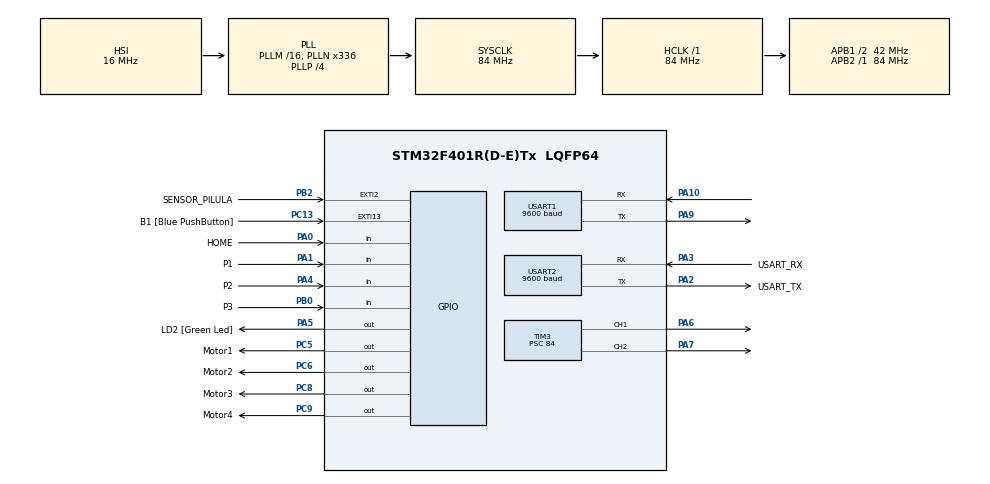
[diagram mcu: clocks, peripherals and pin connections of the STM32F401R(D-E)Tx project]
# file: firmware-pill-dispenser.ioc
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Mcu.Family=STM32F4
Mcu.Name=STM32F401R(D-E)Tx
Mcu.Package=LQFP64
NVIC.PriorityGroup=NVIC_PRIORITYGROUP_0
NVIC.RTC_Alarm_IRQn=true\:0\:3\:false\:false\:true\:true\:true
NVIC.USART1_IRQn=true\:0\:4\:false\:false\:true\:true\:true
PA0-WKUP.GPIO_Label=HOME
PA0-WKUP.Signal=GPIO_Input
PA1.GPIO_Label=P1
PA1.Signal=GPIO_Input
PA10.Mode=Asynchronous
PA10.Signal=USART1_RX
PA13.GPIO_Label=TMS
PA13.Mode=Serial_Wire
PA13.Signal=SYS_JTMS-SWDIO
PA14.GPIO_Label=TCK
PA14.Mode=Serial_Wire
PA14.Signal=SYS_JTCK-SWCLK
PA2.GPIO_Label=USART_TX
PA2.GPIO_Mode=GPIO_MODE_AF_PP
PA2.GPIO_PuPd=GPIO_NOPULL
PA2.GPIO_Speed=GPIO_SPEED_FREQ_LOW
PA2.Mode=Asynchronous
PA2.Signal=USART2_TX
PA3.GPIO_Label=USART_RX
PA3.GPIO_Mode=GPIO_MODE_AF_PP
PA3.GPIO_PuPd=GPIO_NOPULL
PA3.GPIO_Speed=GPIO_SPEED_FREQ_LOW
PA3.Mode=Asynchronous
PA3.Signal=USART2_RX
PA4.GPIO_Label=P2
PA4.Signal=GPIO_Input
PA5.GPIO_Label=LD2 [Green Led]
PA5.GPIO_Mode=GPIO_MODE_OUTPUT_PP
PA5.GPIO_PuPd=GPIO_NOPULL
PA5.GPIO_Speed=GPIO_SPEED_FREQ_LOW
PA5.Signal=GPIO_Output
PA6.Signal=S_TIM3_CH1
PA7.Signal=S_TIM3_CH2
PA9.Mode=Asynchronous
PA9.Signal=USART1_TX
PB0.GPIO_Label=P3
PB0.Signal=GPIO_Input
PB2.GPIO_Label=SENSOR_PILULA
PB2.Signal=GPXTI2
PB3.GPIO_Label=SWO
PB3.Signal=SYS_JTDO-SWO
PC13-ANTI_TAMP.GPIO_Label=B1 [Blue PushButton]
PC13-ANTI_TAMP.GPIO_ModeDefaultEXTI=GPIO_MODE_IT_FALLING
PC13-ANTI_TAMP.GPIO_PuPd=GPIO_NOPULL
PC13-ANTI_TAMP.Signal=GPXTI13
PC14-OSC32_IN.Mode=LSE-External-Oscillator
PC14-OSC32_IN.Signal=RCC_OSC32_IN
PC15-OSC32_OUT.Mode=LSE-External-Oscillator
PC15-OSC32_OUT.Signal=RCC_OSC32_OUT
PC5.GPIO_Label=Motor1
PC5.Signal=GPIO_Output
PC6.GPIO_Label=Motor2
PC6.Signal=GPIO_Output
PC8.GPIO_Label=Motor3
PC8.Signal=GPIO_Output
PC9.GPIO_Label=Motor4
PC9.Signal=GPIO_Output
PH0\ -\ OSC_IN.Mode=HSE-External-Clock-Source
PH0\ -\ OSC_IN.Signal=RCC_OSC_IN
PH1\ -\ OSC_OUT.Mode=HSE-External-Clock-Source
PH1\ -\ OSC_OUT.Signal=RCC_OSC_OUT
ProjectManager.HeapSize=0x200
ProjectManager.StackSize=0x400
ProjectManager.TargetToolchain=STM32CubeIDE
RCC.48MHZClocksFreq_Value=48000000
RCC.AHBFreq_Value=84000000
RCC.APB1CLKDivider=RCC_HCLK_DIV2
RCC.APB1Freq_Value=42000000
RCC.APB1TimFreq_Value=84000000
RCC.APB2Freq_Value=84000000
RCC.APB2TimFreq_Value=84000000
RCC.CortexFreq_Value=84000000
RCC.HCLKFreq_Value=84000000
RCC.HSE_VALUE=8000000
RCC.HSI_VALUE=16000000
RCC.PLLN=336
RCC.PLLP=RCC_PLLP_DIV4
RCC.PLLQ=7
RCC.SYSCLKFreq_VALUE=84000000
RCC.SYSCLKSource=RCC_SYSCLKSOURCE_PLLCLK
RCC.VCOOutputFreq_Value=336000000
RTC.Alarm=RTC_ALARM_A
RTC.AlarmMaskDateWeekDay=RTC_ALARMMASK_DATEWEEKDAY
RTC.AlarmMaskHours=RTC_ALARMMASK_HOURS
RTC.AlarmMaskMinutes=RTC_ALARMMASK_MINUTES
RTC.AlarmMaskSeconds=RTC_ALARMMASK_SECONDS
RTC.Date=23
RTC.Format=RTC_FORMAT_BCD
RTC.Hours=23
RTC.Minutes=59
RTC.Month=RTC_MONTH_APRIL
RTC.Seconds=50
RTC.Seconds_A=1
RTC.WeekDay=RTC_WEEKDAY_SATURDAY
SH.S_TIM3_CH1.0=TIM3_CH1,PWM Generation1 CH1
SH.S_TIM3_CH2.0=TIM3_CH2,PWM Generation2 CH2
TIM3.Channel-PWM\ Generation1\ CH1=TIM_CHANNEL_1
TIM3.Channel-PWM\ Generation2\ CH2=TIM_CHANNEL_2
TIM3.Period=100
TIM3.Prescaler=84
TIM3.Pulse-PWM\ Generation1\ CH1=0
USART1.BaudRate=9600
USART1.VirtualMode=VM_ASYNC
USART2.BaudRate=9600
USART2.Mode=MODE_TX
USART2.VirtualMode=VM_ASYNC
VP_RTC_VS_RTC_Activate.Mode=RTC_Enabled
VP_RTC_VS_RTC_Alarm_A_Intern.Mode=Alarm A
VP_RTC_VS_RTC_Calendar.Mode=RTC_Calendar
VP_TIM1_VS_ClockSourceINT.Mode=Internal
VP_TIM3_VS_ClockSourceINT.Mode=Internal
board=NUCLEO-F401RE

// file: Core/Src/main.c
/* USER CODE BEGIN Header */
/**
  ******************************************************************************
  * @file           : main.c
  * @brief          : Main program body
  ******************************************************************************
  * @attention
  *
  * Copyright (c) 2022 STMicroelectronics.
  * All rights reserved.
  *
  * This software is licensed under terms that can be found in the LICENSE file
  * in the root directory of this software component.
  * If no LICENSE file comes with this software, it is provided AS-IS.
  *
  ******************************************************************************
  */
/* USER CODE END Header */
#include "main.h"

/* USER CODE BEGIN Includes */
#include <stdbool.h>
#include "queue.h"
#include "eeprom.h"
#include "stepper.h"
/* USER CODE END Includes */

/* USER CODE BEGIN PD */
#define RXBUFFERSIZE                     8
#define SLOTS                            8
/* USER CODE END PD */

/* USER CODE BEGIN PM */

struct message {
	uint8_t data[RXBUFFERSIZE];
};

QUEUE_DECLARATION(my_message_queue, struct message, RXBUFFERSIZE);
QUEUE_DEFINITION(my_message_queue, struct message);
struct my_message_queue queue;
/* USER CODE END PM */

RTC_HandleTypeDef hrtc;

TIM_HandleTypeDef htim1;
TIM_HandleTypeDef htim3;

UART_HandleTypeDef huart1;
UART_HandleTypeDef huart2;

/* USER CODE BEGIN PV */
uint8_t UART1_rxBuffer[RXBUFFERSIZE] = {0};
uint8_t bluetooth_rxBuffer[RXBUFFERSIZE] = {0};
uint8_t delimiter = 0x99;

uint16_t VirtAddVarTab[SLOTS][NB_OF_VAR] = {{0x01, 0x02, 0x03, 0x04, 0x05, 0x06, 0x07, 0x08},
                                    {0x11, 0x12, 0x13, 0x14, 0x15, 0x16, 0x17, 0x18, 0x19},
                                    {0x21, 0x22, 0x23, 0x24, 0x25, 0x26, 0x27, 0x28, 0x29},
                                    {0x31, 0x32, 0x33, 0x34, 0x35, 0x36, 0x37, 0x38, 0x39},
                                    {0x41, 0x42, 0x43, 0x44, 0x45, 0x46, 0x47, 0x48, 0x49},
                                    {0x51, 0x52, 0x53, 0x54, 0x55, 0x56, 0x57, 0x58, 0x59},
                                    {0x61, 0x62, 0x63, 0x64, 0x65, 0x66, 0x67, 0x68, 0x69},
                                    {0x71, 0x72, 0x73, 0x74, 0x75, 0x76, 0x77, 0x78, 0x79}};

uint8_t configDispenserTime[SLOTS][RXBUFFERSIZE] = {0};

uint8_t position_state = 100;
float angle_state = 900;

RTC_TimeTypeDef sTime1;
RTC_DateTypeDef sDate1;

/* USER CODE END PV */

void SystemClock_Config(void);
static void MX_GPIO_Init(void);
static void MX_USART2_UART_Init(void);
static void MX_USART1_UART_Init(void);
static void MX_RTC_Init(void);
static void MX_TIM3_Init(void);
static void MX_TIM1_Init(void);

/* USER CODE BEGIN 0 */

void Debug(uint8_t *ch, size_t numElements)
{
	HAL_UART_Transmit(&huart2,ch,numElements,10);
}

void Send_Bluettoh_Data(uint8_t *ch, size_t numElements)
{
	HAL_UART_Transmit(&huart1,ch,numElements,10);
}

void IsAlive()
{
  uint8_t data[] = {0};
  Send_Bluettoh_Data(&data,sizeof(data));
}

SetSlotPillInserted()
{
  for(uint8_t slot = 0; slot < SLOTS; slot++)
  {
    if((EE_WriteVariable(VirtAddVarTab[0][slot],  (uint16_t)configDispenserTime[slot])) != HAL_OK)
      {
        uint8_t error[] = {9};
        Send_Bluettoh_Data(&error,sizeof(error));
      }
  }
}

void GetSlotsPillsInserted(uint8_t* output)
{
  uint16_t VarDataTab[NB_OF_VAR] = {0};
  for(uint8_t i = 0; i < RXBUFFERSIZE; i++)
  {
	  if((EE_ReadVariable(VirtAddVarTab[0][i],  &VarDataTab[i])) != HAL_OK)
	  {
	      uint8_t error[] = {9};
	  }
    output[i] = (uint8_t) VarDataTab[i];
  }
}

void SetConfigDispenserTime(uint8_t* input)
{
  int slot = input[RXBUFFERSIZE-2];
  for(uint8_t i = 0; i < RXBUFFERSIZE; i++)
  {
    if((EE_WriteVariable(VirtAddVarTab[slot][i],  (uint16_t)input[i])) != HAL_OK)
      {
        uint8_t error[] = {9};
        Send_Bluettoh_Data(&error,sizeof(error));
      }
      configDispenserTime[slot][i] = (uint8_t) input[i];
  }
}

void GetConfigDispenserTime(uint8_t* output, int slot)
{
  uint16_t VarDataTab[NB_OF_VAR] = {0};
  for(uint8_t i = 0; i < RXBUFFERSIZE; i++)
  {
	  if((EE_ReadVariable(VirtAddVarTab[slot][i],  &VarDataTab[i])) != HAL_OK)
	  {
	      uint8_t error[] = {9};
	  }
    output[i] = (uint8_t) VarDataTab[i];
  }
}

void LoadConfigDispenserTime()
{
  uint16_t VarDataTab[NB_OF_VAR] = {0};
   for(int slot = 1; slot< SLOTS; slot++)
   {

    for(uint8_t i = 0; i < RXBUFFERSIZE; i++)
    {
      if((EE_ReadVariable(VirtAddVarTab[slot][i],  &VarDataTab[i])) != HAL_OK)
      {
          uint8_t error[] = {9};
      }
      configDispenserTime[slot][i] = (uint8_t) VarDataTab[i];
    }

  }
}

void UpdateRTC()
{

	sTime1.Hours = bluetooth_rxBuffer[3];
	sTime1.Minutes = bluetooth_rxBuffer[4];
	sTime1.Seconds = bluetooth_rxBuffer[5];
	sTime1.DayLightSaving = RTC_DAYLIGHTSAVING_NONE;
	sTime1.StoreOperation = RTC_STOREOPERATION_RESET;
	if (HAL_RTC_SetTime(&hrtc, &sTime1, RTC_FORMAT_BCD) != HAL_OK)
	{
		Error_Handler();
	}

	sDate1.Date = bluetooth_rxBuffer[0];
	sDate1.Month = bluetooth_rxBuffer[1];
	sDate1.Year = bluetooth_rxBuffer[2];
	if (HAL_RTC_SetDate(&hrtc, &sDate1, RTC_FORMAT_BCD) != HAL_OK)
	{
		Error_Handler();
	}
}

void GetRTC(uint8_t* output)
{

  HAL_RTC_GetTime(&hrtc, &sTime1, RTC_FORMAT_BCD);
  HAL_RTC_GetDate(&hrtc, &sDate1, RTC_FORMAT_BCD);

  output[0] = sDate1.Date;
  output[1] = sDate1.Month;
  output[2] = sDate1.Year;
  output[3] = sTime1.Hours;
  output[4] = sTime1.Minutes;
  output[5] = sTime1.Seconds;

}

void StartDispenserRotationProcess(uint8_t* output)
{
  uint8_t position = bluetooth_rxBuffer[RXBUFFERSIZE-2];

	goToPosition(position);

  SetConfigDispenserTime(output);

	memcpy(output, bluetooth_rxBuffer, RXBUFFERSIZE * sizeof(uint8_t));
}

FinishDispenserRotationProcess(uint8_t* output)
{
  goHome();
	memcpy(output, bluetooth_rxBuffer, RXBUFFERSIZE * sizeof(uint8_t));
}

StartInsertionProcess(uint8_t* output)
{
	uint8_t position = bluetooth_rxBuffer[RXBUFFERSIZE-2];

	goToPosition(position);

	memcpy(output, bluetooth_rxBuffer, RXBUFFERSIZE * sizeof(uint8_t));
}

FinishInsetionProcess(uint8_t* output)
{
  goHome();
	memcpy(output, bluetooth_rxBuffer, RXBUFFERSIZE * sizeof(uint8_t));
}

void Command()
{
  uint8_t output[RXBUFFERSIZE] = {0};

  switch (bluetooth_rxBuffer[RXBUFFERSIZE-1])
  {
  case 1:
    IsAlive();
    break;
  case 2:
    SetConfigDispenserTime(bluetooth_rxBuffer);
    break;
  case 3:
    GetConfigDispenserTime(output, bluetooth_rxBuffer[RXBUFFERSIZE-2]);
    break;
  case 4:
    UpdateRTC();
    break;
  case 5:
    GetRTC(output);
    break;
  case 6:
	  StartDispenserRotationProcess(output);
    break;
  case 7:
	  FinishDispenserRotationProcess(output);
    break;
  case 11:
	  StartInsertionProcess(output);
    break;
  case 12:
	  FinishInsetionProcess(output);
    break;
  case 15:
	  GetPosition(output);
  case 16:
	  GetSlotsPillsInserted(output);
  default:
    break;
  }

  Send_Bluettoh_Data(&output,sizeof(output));
}

void HAL_UART_RxCpltCallback(UART_HandleTypeDef *huart)
{
  if(huart->Instance==USART1){
	struct message msg;
	memcpy(msg.data, UART1_rxBuffer, RXBUFFERSIZE * sizeof(uint8_t));
	enum enqueue_result result1 = my_message_queue_enqueue(&queue, &msg);
  HAL_UART_Receive_IT(&huart1,UART1_rxBuffer,RXBUFFERSIZE);
  }
}

void HAL_RTC_AlarmAEventCallback(RTC_HandleTypeDef *hrtc)
{

	uint8_t dispenserTime[RXBUFFERSIZE] = {0};
	uint8_t rtcTime[RXBUFFERSIZE] = {0};
	GetRTC(rtcTime);

  for(int slot = 1; slot< SLOTS; slot++)
  {
    //GetConfigDispenserTime(dispenserTime,i);

    bool arrayEqual = true;

    for(uint8_t i = 0; i < RXBUFFERSIZE-2; i++)
    {
      uint8_t aux1 = configDispenserTime[slot][i];
      uint8_t aux2 = rtcTime[i];
      if(aux1 != aux2)
      {
        arrayEqual = false;
        break;
      }
    }

    if(arrayEqual)
    {
      uint8_t data[RXBUFFERSIZE] = {0};
      data[RXBUFFERSIZE-1] = 6;
      data[RXBUFFERSIZE-2] = slot;
      struct message msg;
      memcpy(msg.data, data, RXBUFFERSIZE * sizeof(uint8_t));
      enum enqueue_result result1 = my_message_queue_enqueue(&queue, &msg);

    }

  }
}

void stepper_step_angle (float angle, int direction)
{
	float anglepersequence = 0.703125;  // 360 = 512 sequences
	int numberofsequences = (int) (angle/anglepersequence);
  int rpm = 5;
  int presenceAux = false;
  int actualSlot = getSlotByAngle((int)angle_state);

	for (int seq=0; seq<numberofsequences; seq++)
	{
		if (direction == 0)  // for clockwise
		{
      angle_state = angle_state - 0.703125;

      if(HAL_GPIO_ReadPin(GPIOA, P1_Pin) || HAL_GPIO_ReadPin(GPIOA, P2_Pin) || HAL_GPIO_ReadPin(GPIOB, P3_Pin))
      {
        HAL_GPIO_WritePin(GPIOA,LD2_Pin,GPIO_PIN_SET);
        presenceAux = true;
      } else{
    	  HAL_GPIO_WritePin(GPIOA,LD2_Pin,GPIO_PIN_RESET);
      }

      if(actualSlot != getSlotByAngle((int)angle_state))
      {
        configDispenserTime[0][actualSlot] = presenceAux;
        actualSlot = getSlotByAngle(angle_state);
        presenceAux = false;
      }

			for (int step=4; step>=0; step--)
			{
				stepper_wave_drive(step);
				stepper_set_rpm(rpm);
			}

		}

		else if (direction == 1)  // for anti-clockwise
		{
      angle_state = angle_state + 0.703125;

			for (int step=0; step<5; step++)
			{
				stepper_wave_drive(step);
				stepper_set_rpm(rpm);
			}
		}
	}

}

goToPosition(int target)
{
  if(target == position_state)
  {
    return;
  }

  if(position_state != 0)
  {
    goHome();
  }

  int angle = getFinalAngleBySlot(target);

  stepper_step_angle(angle,1);

  position_state = target;
  HAL_GPIO_WritePin(GPIOA,LD2_Pin,GPIO_PIN_RESET);
}

goHome()
{
  if(position_state == 0)
  {
    return;
  }

  int debounce = 0;
  int i = 1140;
  while(i > 0)
  {
    if(!HAL_GPIO_ReadPin(GPIOA, HOME_Pin))
    {
      if(debounce == 2)
      {
        stepper_step_angle(5,0);
        position_state = 0;
        angle_state = 0;
        return;
      }
      else
      {
        debounce = debounce+1;
      }
    }
    stepper_step_angle(1,0);
    i = i-1;
  }

}

GetPosition(uint8_t* output)
{
  output[RXBUFFERSIZE-1] = 15;
  output[RXBUFFERSIZE-2] = position_state;
}

/* USER CODE END 0 */

int main(void)
{

  /* MCU Configuration--------------------------------------------------------*/

  /* Reset of all peripherals, Initializes the Flash interface and the Systick. */
  HAL_Init();

  /* USER CODE BEGIN Init */
  HAL_FLASH_Unlock();
  if( EE_Init() != EE_OK)
  {
    uint8_t data[] = {9};
    Send_Bluettoh_Data(&data,sizeof(data));
  }

  /* USER CODE END Init */

  /* Configure the system clock */
  SystemClock_Config();

  /* Initialize all configured peripherals */
  MX_GPIO_Init();
  MX_USART2_UART_Init();
  MX_USART1_UART_Init();
  MX_RTC_Init();
  MX_TIM3_Init();
  MX_TIM1_Init();
  /* USER CODE BEGIN 2 */
  HAL_UART_Receive_IT(&huart1,UART1_rxBuffer,RXBUFFERSIZE);
  my_message_queue_init(&queue);

  LoadConfigDispenserTime();

  goHome();
  /* USER CODE END 2 */

  /* Infinite loop */
  while (1)
  {

    /* USER CODE BEGIN 3 */

	  struct message msg;
	  enum dequeue_result result2 = my_message_queue_dequeue(&queue, &msg);
	  if (result2 == DEQUEUE_RESULT_SUCCESS) {
		  memcpy(bluetooth_rxBuffer, msg.data, RXBUFFERSIZE * sizeof(uint8_t));
		  Command();
	  }

    if(!HAL_GPIO_ReadPin(GPIOC, GPIO_PIN_13))
    {
    	stepper_step_angle(5,0);
    }
  }
  /* USER CODE END 3 */
}

void SystemClock_Config(void)
{
  RCC_OscInitTypeDef RCC_OscInitStruct = {0};
  RCC_ClkInitTypeDef RCC_ClkInitStruct = {0};

  /** Configure the main internal regulator output voltage
  */
  __HAL_RCC_PWR_CLK_ENABLE();
  __HAL_PWR_VOLTAGESCALING_CONFIG(PWR_REGULATOR_VOLTAGE_SCALE2);
  /** Initializes the RCC Oscillators according to the specified parameters
  * in the RCC_OscInitTypeDef structure.
  */
  RCC_OscInitStruct.OscillatorType = RCC_OSCILLATORTYPE_HSI|RCC_OSCILLATORTYPE_LSI;
  RCC_OscInitStruct.HSIState = RCC_HSI_ON;
  RCC_OscInitStruct.HSICalibrationValue = RCC_HSICALIBRATION_DEFAULT;
  RCC_OscInitStruct.LSIState = RCC_LSI_ON;
  RCC_OscInitStruct.PLL.PLLState = RCC_PLL_ON;
  RCC_OscInitStruct.PLL.PLLSource = RCC_PLLSOURCE_HSI;
  RCC_OscInitStruct.PLL.PLLM = 16;
  RCC_OscInitStruct.PLL.PLLN = 336;
  RCC_OscInitStruct.PLL.PLLP = RCC_PLLP_DIV4;
  RCC_OscInitStruct.PLL.PLLQ = 7;
  if (HAL_RCC_OscConfig(&RCC_OscInitStruct) != HAL_OK)
  {
    Error_Handler();
  }
  /** Initializes the CPU, AHB and APB buses clocks
  */
  RCC_ClkInitStruct.ClockType = RCC_CLOCKTYPE_HCLK|RCC_CLOCKTYPE_SYSCLK
                              |RCC_CLOCKTYPE_PCLK1|RCC_CLOCKTYPE_PCLK2;
  RCC_ClkInitStruct.SYSCLKSource = RCC_SYSCLKSOURCE_PLLCLK;
  RCC_ClkInitStruct.AHBCLKDivider = RCC_SYSCLK_DIV1;
  RCC_ClkInitStruct.APB1CLKDivider = RCC_HCLK_DIV2;
  RCC_ClkInitStruct.APB2CLKDivider = RCC_HCLK_DIV1;

  if (HAL_RCC_ClockConfig(&RCC_ClkInitStruct, FLASH_LATENCY_2) != HAL_OK)
  {
    Error_Handler();
  }
}

static void MX_RTC_Init(void)
{

  RTC_TimeTypeDef sTime = {0};
  RTC_DateTypeDef sDate = {0};
  RTC_AlarmTypeDef sAlarm = {0};

  /** Initialize RTC Only
  */
  hrtc.Instance = RTC;
  hrtc.Init.HourFormat = RTC_HOURFORMAT_24;
  hrtc.Init.AsynchPrediv = 127;
  hrtc.Init.SynchPrediv = 255;
  hrtc.Init.OutPut = RTC_OUTPUT_DISABLE;
  hrtc.Init.OutPutPolarity = RTC_OUTPUT_POLARITY_HIGH;
  hrtc.Init.OutPutType = RTC_OUTPUT_TYPE_OPENDRAIN;
  if (HAL_RTC_Init(&hrtc) != HAL_OK)
  {
    Error_Handler();
  }

  /** Initialize RTC and set the Time and Date
  */
  sTime.Hours = 0x23;
  sTime.Minutes = 0x59;
  sTime.Seconds = 0x50;
  sTime.DayLightSaving = RTC_DAYLIGHTSAVING_NONE;
  sTime.StoreOperation = RTC_STOREOPERATION_RESET;
  if (HAL_RTC_SetTime(&hrtc, &sTime, RTC_FORMAT_BCD) != HAL_OK)
  {
    Error_Handler();
  }
  sDate.WeekDay = RTC_WEEKDAY_SATURDAY;
  sDate.Month = RTC_MONTH_APRIL;
  sDate.Date = 0x23;
  sDate.Year = 0x0;

  if (HAL_RTC_SetDate(&hrtc, &sDate, RTC_FORMAT_BCD) != HAL_OK)
  {
    Error_Handler();
  }
  /** Enable the Alarm A
  */
  sAlarm.AlarmTime.Hours = 0x0;
  sAlarm.AlarmTime.Minutes = 0x0;
  sAlarm.AlarmTime.Seconds = 0x1;
  sAlarm.AlarmTime.SubSeconds = 0x0;
  sAlarm.AlarmTime.DayLightSaving = RTC_DAYLIGHTSAVING_NONE;
  sAlarm.AlarmTime.StoreOperation = RTC_STOREOPERATION_RESET;
  sAlarm.AlarmMask = RTC_ALARMMASK_ALL;
  sAlarm.AlarmSubSecondMask = RTC_ALARMSUBSECONDMASK_ALL;
  sAlarm.AlarmDateWeekDaySel = RTC_ALARMDATEWEEKDAYSEL_DATE;
  sAlarm.AlarmDateWeekDay = 0x1;
  sAlarm.Alarm = RTC_ALARM_A;
  if (HAL_RTC_SetAlarm_IT(&hrtc, &sAlarm, RTC_FORMAT_BCD) != HAL_OK)
  {
    Error_Handler();
  }

}

static void MX_TIM1_Init(void)
{

  TIM_ClockConfigTypeDef sClockSourceConfig = {0};
  TIM_MasterConfigTypeDef sMasterConfig = {0};

  htim1.Instance = TIM1;
  htim1.Init.Prescaler = 0;
  htim1.Init.CounterMode = TIM_COUNTERMODE_UP;
  htim1.Init.Period = 65535;
  htim1.Init.ClockDivision = TIM_CLOCKDIVISION_DIV1;
  htim1.Init.RepetitionCounter = 0;
  htim1.Init.AutoReloadPreload = TIM_AUTORELOAD_PRELOAD_DISABLE;
  if (HAL_TIM_Base_Init(&htim1) != HAL_OK)
  {
    Error_Handler();
  }
  sClockSourceConfig.ClockSource = TIM_CLOCKSOURCE_INTERNAL;
  if (HAL_TIM_ConfigClockSource(&htim1, &sClockSourceConfig) != HAL_OK)
  {
    Error_Handler();
  }
  sMasterConfig.MasterOutputTrigger = TIM_TRGO_RESET;
  sMasterConfig.MasterSlaveMode = TIM_MASTERSLAVEMODE_DISABLE;
  if (HAL_TIMEx_MasterConfigSynchronization(&htim1, &sMasterConfig) != HAL_OK)
  {
    Error_Handler();
  }

}

static void MX_TIM3_Init(void)
{

  TIM_ClockConfigTypeDef sClockSourceConfig = {0};
  TIM_MasterConfigTypeDef sMasterConfig = {0};
  TIM_OC_InitTypeDef sConfigOC = {0};

  htim3.Instance = TIM3;
  htim3.Init.Prescaler = 84;
  htim3.Init.CounterMode = TIM_COUNTERMODE_UP;
  htim3.Init.Period = 100;
  htim3.Init.ClockDivision = TIM_CLOCKDIVISION_DIV1;
  htim3.Init.AutoReloadPreload = TIM_AUTORELOAD_PRELOAD_DISABLE;
  if (HAL_TIM_Base_Init(&htim3) != HAL_OK)
  {
    Error_Handler();
  }
  sClockSourceConfig.ClockSource = TIM_CLOCKSOURCE_INTERNAL;
  if (HAL_TIM_ConfigClockSource(&htim3, &sClockSourceConfig) != HAL_OK)
  {
    Error_Handler();
  }
  if (HAL_TIM_PWM_Init(&htim3) != HAL_OK)
  {
    Error_Handler();
  }
  sMasterConfig.MasterOutputTrigger = TIM_TRGO_RESET;
  sMasterConfig.MasterSlaveMode = TIM_MASTERSLAVEMODE_DISABLE;
  if (HAL_TIMEx_MasterConfigSynchronization(&htim3, &sMasterConfig) != HAL_OK)
  {
    Error_Handler();
  }
  sConfigOC.OCMode = TIM_OCMODE_PWM1;
  sConfigOC.Pulse = 0;
  sConfigOC.OCPolarity = TIM_OCPOLARITY_HIGH;
  sConfigOC.OCFastMode = TIM_OCFAST_DISABLE;
  if (HAL_TIM_PWM_ConfigChannel(&htim3, &sConfigOC, TIM_CHANNEL_1) != HAL_OK)
  {
    Error_Handler();
  }
  if (HAL_TIM_PWM_ConfigChannel(&htim3, &sConfigOC, TIM_CHANNEL_2) != HAL_OK)
  {
    Error_Handler();
  }
  HAL_TIM_MspPostInit(&htim3);

}

static void MX_USART1_UART_Init(void)
{

  huart1.Instance = USART1;
  huart1.Init.BaudRate = 9600;
  huart1.Init.WordLength = UART_WORDLENGTH_8B;
  huart1.Init.StopBits = UART_STOPBITS_1;
  huart1.Init.Parity = UART_PARITY_NONE;
  huart1.Init.Mode = UART_MODE_TX_RX;
  huart1.Init.HwFlowCtl = UART_HWCONTROL_NONE;
  huart1.Init.OverSampling = UART_OVERSAMPLING_16;
  if (HAL_UART_Init(&huart1) != HAL_OK)
  {
    Error_Handler();
  }

}

static void MX_USART2_UART_Init(void)
{

  huart2.Instance = USART2;
  huart2.Init.BaudRate = 9600;
  huart2.Init.WordLength = UART_WORDLENGTH_8B;
  huart2.Init.StopBits = UART_STOPBITS_1;
  huart2.Init.Parity = UART_PARITY_NONE;
  huart2.Init.Mode = UART_MODE_TX;
  huart2.Init.HwFlowCtl = UART_HWCONTROL_NONE;
  huart2.Init.OverSampling = UART_OVERSAMPLING_16;
  if (HAL_UART_Init(&huart2) != HAL_OK)
  {
    Error_Handler();
  }

}

static void MX_GPIO_Init(void)
{
  GPIO_InitTypeDef GPIO_InitStruct = {0};

  /* GPIO Ports Clock Enable */
  __HAL_RCC_GPIOC_CLK_ENABLE();
  __HAL_RCC_GPIOH_CLK_ENABLE();
  __HAL_RCC_GPIOA_CLK_ENABLE();
  __HAL_RCC_GPIOB_CLK_ENABLE();

  /*Configure GPIO pin Output Level */
  HAL_GPIO_WritePin(LD2_GPIO_Port, LD2_Pin, GPIO_PIN_RESET);

  /*Configure GPIO pin Output Level */
  HAL_GPIO_WritePin(GPIOC, Motor1_Pin|Motor2_Pin|Motor3_Pin|Motor4_Pin, GPIO_PIN_RESET);

  /*Configure GPIO pin : B1_Pin */
  GPIO_InitStruct.Pin = B1_Pin;
  GPIO_InitStruct.Mode = GPIO_MODE_IT_FALLING;
  GPIO_InitStruct.Pull = GPIO_NOPULL;
  HAL_GPIO_Init(B1_GPIO_Port, &GPIO_InitStruct);

  /*Configure GPIO pins : HOME_Pin P1_Pin P2_Pin */
  GPIO_InitStruct.Pin = HOME_Pin|P1_Pin|P2_Pin;
  GPIO_InitStruct.Mode = GPIO_MODE_INPUT;
  GPIO_InitStruct.Pull = GPIO_NOPULL;
  HAL_GPIO_Init(GPIOA, &GPIO_InitStruct);

  /*Configure GPIO pin : LD2_Pin */
  GPIO_InitStruct.Pin = LD2_Pin;
  GPIO_InitStruct.Mode = GPIO_MODE_OUTPUT_PP;
  GPIO_InitStruct.Pull = GPIO_NOPULL;
  GPIO_InitStruct.Speed = GPIO_SPEED_FREQ_LOW;
  HAL_GPIO_Init(LD2_GPIO_Port, &GPIO_InitStruct);

  /*Configure GPIO pins : Motor1_Pin Motor2_Pin Motor3_Pin Motor4_Pin */
  GPIO_InitStruct.Pin = Motor1_Pin|Motor2_Pin|Motor3_Pin|Motor4_Pin;
  GPIO_InitStruct.Mode = GPIO_MODE_OUTPUT_PP;
  GPIO_InitStruct.Pull = GPIO_NOPULL;
  GPIO_InitStruct.Speed = GPIO_SPEED_FREQ_LOW;
  HAL_GPIO_Init(GPIOC, &GPIO_InitStruct);

  /*Configure GPIO pin : P3_Pin */
  GPIO_InitStruct.Pin = P3_Pin;
  GPIO_InitStruct.Mode = GPIO_MODE_INPUT;
  GPIO_InitStruct.Pull = GPIO_NOPULL;
  HAL_GPIO_Init(P3_GPIO_Port, &GPIO_InitStruct);

  /*Configure GPIO pin : SENSOR_PILULA_Pin */
  GPIO_InitStruct.Pin = SENSOR_PILULA_Pin;
  GPIO_InitStruct.Mode = GPIO_MODE_IT_RISING;
  GPIO_InitStruct.Pull = GPIO_NOPULL;
  HAL_GPIO_Init(SENSOR_PILULA_GPIO_Port, &GPIO_InitStruct);

}

void Error_Handler(void)
{
  __disable_irq();
  while (1)
  {
  }
}
